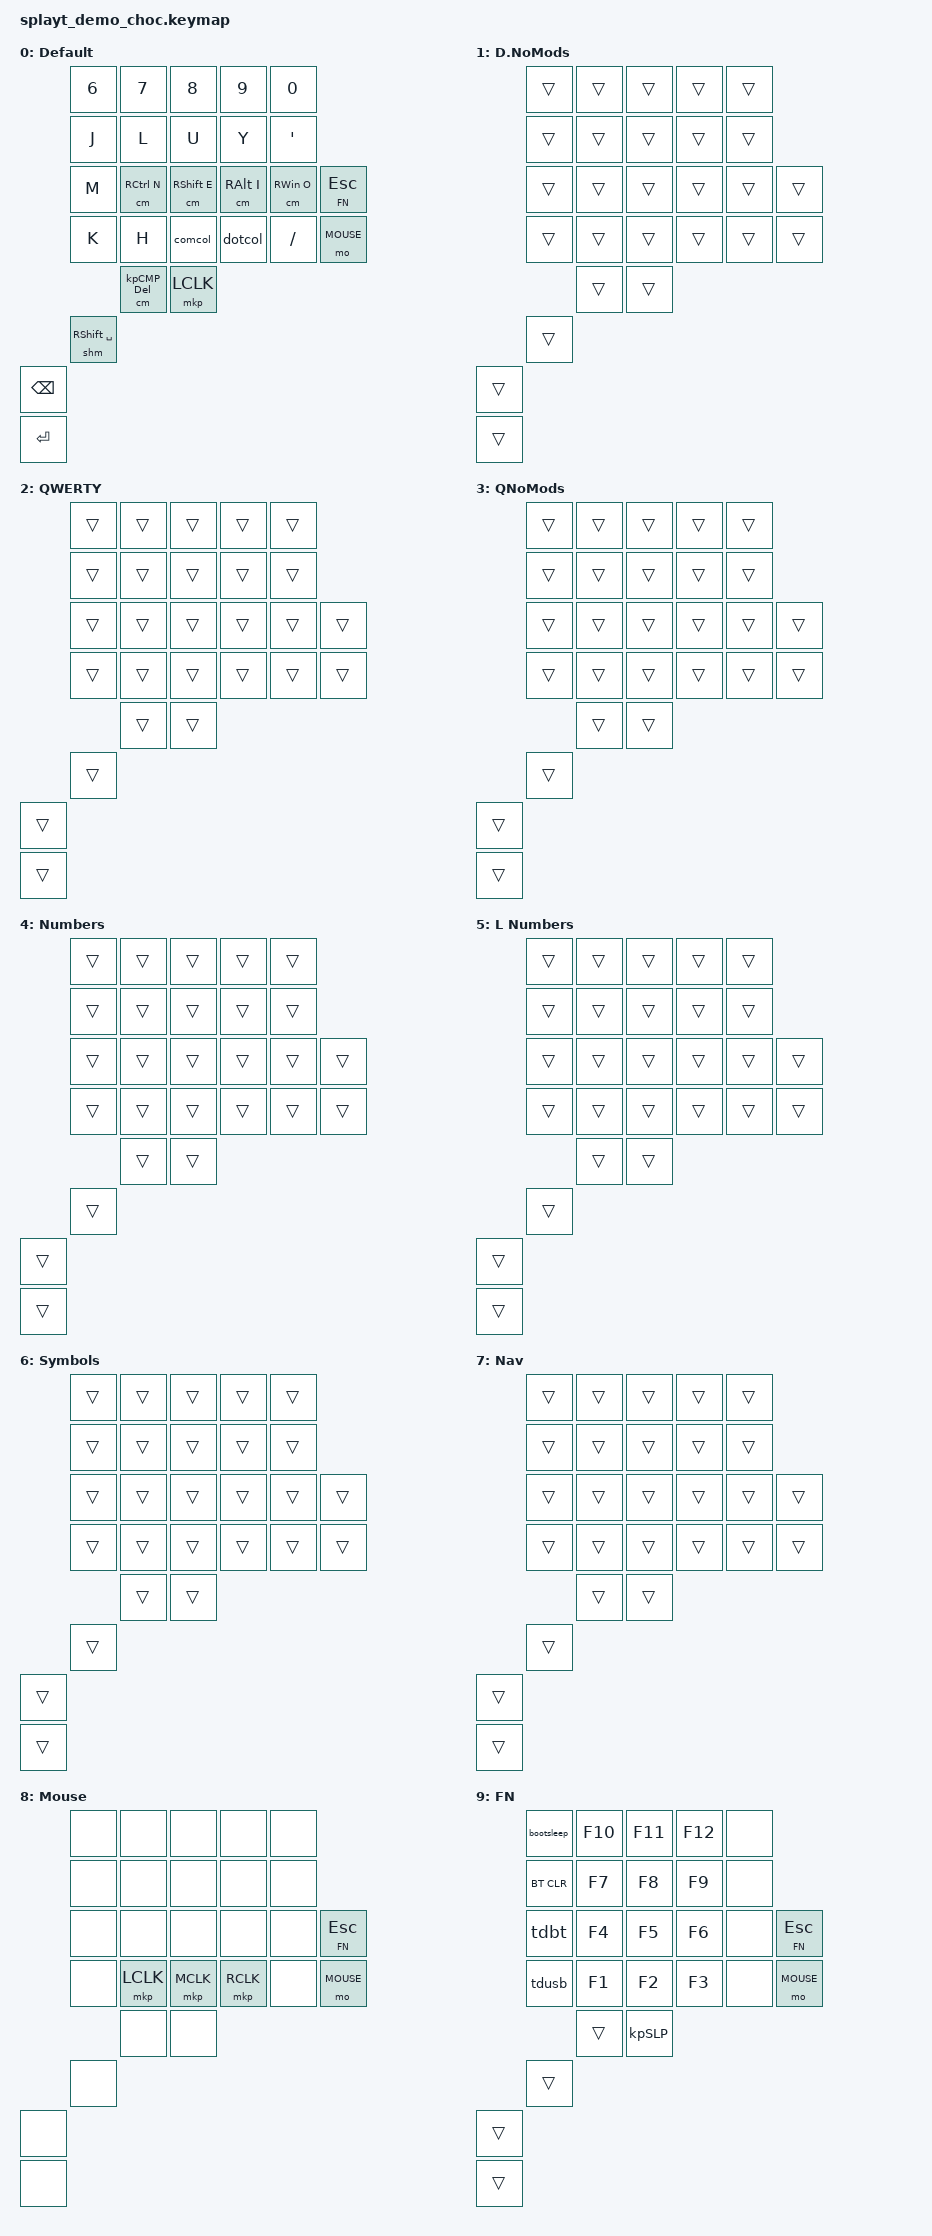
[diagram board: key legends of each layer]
/*
 * Copyright (c) 2021 Tom Butcher
 *
 * SPDX-License-Identifier: MIT
 */

 // standard build command: west build -b adafruit_feather_nrf52840 -- -DSHIELD=space_invader

 /* ********* TO DO *************
	* Once unicode works, create macros that change the layer and send the appropriate F key
	  (for helper image) at the same time.
 */

#include <behaviors.dtsi>
#include <dt-bindings/zmk/keys.h>
#include <dt-bindings/zmk/bt.h>
#include <dt-bindings/zmk/outputs.h>
#include <dt-bindings/zmk/ext_power.h>

// Layer Defs
#define DEF		0
#define DEF_NM	1
#define QWERTY	2
#define QWER_NM	3
#define NUM		4
#define LNUM	5
#define SYM		6
#define NAV		7
#define MOUSE	8
#define FN		9	
#define EMOJI	10	// Reserved for future use 
#define CMP		11	// Reserved for future use
#define STAY	12

// Mouse Key defs--For use until AHK can be ditched
#define WH_DN	(F16)
#define WH_UP	(F17)
// #define WH_L	(KP_N7)
// #define WH_R	(KP_N9)
// #define M_UP	(KP_N8)
// #define M_DN	(KP_N5)
// #define M_L		(KP_N4)
// #define M_R		(KP_N6)
// #define M_UP_SL	(LC(LG(LA(M_UP))))		// These move the mouse slowly
// #define M_DN_SL	(LC(LG(LA(M_DN))))
// #define M_R_SL	(LC(LG(LA(M_R))))
// #define M_L_SL	(LC(LG(LA(M_L))))
// #define M_MB	(KP_DIVIDE)
// #define M_LB	(KP_MINUS)
// #define M_RB	(KP_MULTIPLY)

// F Key subs (use with AHK)
#define KP_PLS	(F18)
#define KP_COM	(F19)
#define KP_SMC	(F20)
#define KP_EMJ	(F21)
#define KP_CMP	(F23)
#define KP_SLP	(LG(LA(LS(LC(APOS)))))

// Other defs
#define xxx		&none	
#define ___		&trans
#define HYPER	(LG(LA(LS(LCTRL))))		  // If I want to send a hypered key, then I might need to make a custom behavior
// #define HYPER	(LG(LA(LS(LCTRL))))   // Maybe try to make a custom mod kp?

#include <../boards/shields/splayt_demo_choc/key_positions.h>
#include <../boards/shields/splayt_demo_choc/mouse.dtsi>
#include <../boards/shields/splayt_demo_choc/helper.h>
#include <../boards/shields/splayt_demo_choc/behaviors.dtsi>
#include <../boards/shields/splayt_demo_choc/combos.dtsi>

&mt { quick_tap_ms = <200>; };
&lt { quick_tap_ms = <200>; };

/ {
	conditional_layers {
        compatible = "zmk,conditional-layers";
        tri_layer {
            if-layers = <1 2>;
            then-layer = <3>;
        };
    };

	keymap {
		compatible = "zmk,keymap";

							// -------------------------------------------------TEMPLATE-------------------------------------------------
							// |      |      |      |      |      |                                  |      |      |      |      |      |
							// |      |      |      |      |      |                                  |      |      |      |      |      |
							// |      |      |      |      |      |             |      |             |      |      |      |      |      |
							// |      |------|      |      |      |      |      	          |      |      |      |      |------|      |
							// |----------------------------------|      |      |      |      |      |----------------------------------|
							// ----------------------------------------------------------------------------------------------------------

//------------------------------------------------------------------------------EMPTY TEMPLATE-----------------------------------------------------------------------------
//╭─────────────┬─────────────┬─────────────┬─────────────┬─────────────╮	 		  			    ╭─────────────┬─────────────┬─────────────┬─────────────┬─────────────╮

//├─────────────┼─────────────┼─────────────┼─────────────┼─────────────┤	 					    ├─────────────┼─────────────┼─────────────┼─────────────┼─────────────┤

//├─────────────┼─────────────┼─────────────┼─────────────┼─────────────┤	   ╭─────────────╮      ├─────────────┼─────────────┼─────────────┼─────────────┼─────────────┤

//├─────────────┴───┬─────────┼─────────────┼─────────────┼─────────────┼──────╰──────╮──────╯──────┼─────────────┼─────────────┼─────────────┼─────────┬───┴─────────────┤

//╰─────────────────╯		  ╰─────────────┴─────────────┴─────────────┴─────────────╯─────────────┴─────────────┴─────────────┴─────────────╯	   		╰─────────────────╯
//																		  		 ╭─────────╮

//																	   ╭─────────┼─────────┼─────────╮

//																	   ╰─────────┼─────────┼─────────╯

//																				 ╰─────────╯



		default_layer { 
			label = "Default";
			bindings = <
		//----------------------------------------------COLEMAK----------------------------------------------
		//				╭─────────────┬─────────────┬─────────────┬─────────────┬─────────────╮
          				  &kp N6		&kp N7		  &kp N8		&kp N9		  &kp N0		
        //				├─────────────┼─────────────┼─────────────┼─────────────┼─────────────┤
          				  &kp J			&kp L		  &kp U			&kp Y		  &kp APOS	  
        //				├─────────────┼─────────────┼─────────────┼─────────────┼─────────────┤─────────────╮
          				  &kp M			&cm RCTRL N	  &cm RSHFT E	&cm RALT I	  &cm RWIN O    &lt FN ESC  
        //				├─────────────┼─────────────┼─────────────┼─────────────┼─────────────┤─────────────┤
          				  &kp K			&kp H		  &comcol		&dotcol		  &kp SLASH		&mo MOUSE
        //				╰─────────╭───┴─────────┬───┴─────────╮───┴─────────────┴─────────────┴─────────────╯
							    	&cm KP_CMP DEL &mkp LCLK	// &kp END 		// &lt SYM END
		//			╭─────────────┼─────────────┴─────────────╯	
  		  			  &shm RSHFT SPACE 
		//	  ╭─────╰───────╮─────╯											  
 			    &kp BSPC		// &lt NUM BSPC  
		//	  ├─────────────┤
				&kp RET
		//	  ╰─────────────╯												  
       		>;
		};

		default_no_mods_layer { // Dummy layer for now
			label = "D.NoMods";
			bindings = <___ ___	___ ___ ___ ___ ___ ___ ___ ___ ___ ___ ___ ___ ___ ___ ___ ___ ___ ___ ___ ___ ___ ___ ___ ___ ___>;
		};

		qwerty_layer { // Dummy layer for now
			label = "QWERTY";
			bindings = <___ ___	___ ___ ___ ___ ___ ___ ___ ___ ___ ___ ___ ___ ___ ___ ___ ___ ___ ___ ___ ___ ___ ___ ___ ___ ___>;
		};

		qwerty_no_mods_layer { // Dummy layer for now
			label = "QNoMods";
			bindings = <___ ___	___ ___ ___ ___ ___ ___ ___ ___ ___ ___ ___ ___ ___ ___ ___ ___ ___ ___ ___ ___ ___ ___ ___ ___ ___>;
		};

		number_layer { // Dummy layer for now
			label = "Numbers";
			bindings = <___ ___	___ ___ ___ ___ ___ ___ ___ ___ ___ ___ ___ ___ ___ ___ ___ ___ ___ ___ ___ ___ ___ ___ ___ ___ ___>;
		};

		left_number_layer { // Dummy layer for now
			label = "L Numbers";
			bindings = <___ ___	___ ___ ___ ___ ___ ___ ___ ___ ___ ___ ___ ___ ___ ___ ___ ___ ___ ___ ___ ___ ___ ___ ___ ___ ___>;
		};

		symbol_layer { // Dummy layer for now
			label = "Symbols";
			bindings = <___ ___	___ ___ ___ ___ ___ ___ ___ ___ ___ ___ ___ ___ ___ ___ ___ ___ ___ ___ ___ ___ ___ ___ ___ ___ ___>;
		};

		navigation_layer { // Dummy layer for now
			label = "Nav";
			bindings = <___ ___	___ ___ ___ ___ ___ ___ ___ ___ ___ ___ ___ ___ ___ ___ ___ ___ ___ ___ ___ ___ ___ ___ ___ ___ ___>;
		};

		mouse_layer { 
			label = "Mouse";
			bindings = <
		//----------------------------------------------COLEMAK----------------------------------------------
		//				╭─────────────┬─────────────┬─────────────┬─────────────┬─────────────╮
          				   xxx			xxx			  xxx			xxx			  xxx	
        //				├─────────────┼─────────────┼─────────────┼─────────────┼─────────────┤
          				   xxx			xxx			  xxx			xxx			  xxx 
        //				├─────────────┼─────────────┼─────────────┼─────────────┼─────────────┤─────────────╮
          				   xxx			xxx			  xxx			xxx			  xxx	   		&lt FN ESC  
        //				├─────────────┼─────────────┼─────────────┼─────────────┼─────────────┤─────────────┤
          				   xxx			&mkp LCLK	  &mkp MCLK		&mkp RCLK	  xxx			&mo MOUSE
        //				╰─────────╭───┴─────────┬───┴─────────╮───┴─────────────┴─────────────┴─────────────╯
							    	xxx			  xxx
		//			╭─────────────┼─────────────┴─────────────╯	
  		  			  xxx
		//	  ╭─────╰───────╮─────╯											  
 			    xxx
		//	  ├─────────────┤
				xxx 
		//	  ╰─────────────╯												  
       		>;
		};

		function_layer { 
			label = "FN";
			bindings = <
		//----------------------------------------------COLEMAK----------------------------------------------
		//				╭─────────────┬─────────────┬─────────────┬─────────────┬─────────────╮
          				   &bootsleep	&kp F10		  &kp F11		&kp F12		  xxx	
        //				├─────────────┼─────────────┼─────────────┼─────────────┼─────────────┤
          				   &bt BT_CLR	&kp F7		  &kp F8		&kp F9		  xxx 
        //				├─────────────┼─────────────┼─────────────┼─────────────┼─────────────┤─────────────╮
          				   &tdbt		&kp F4		  &kp F5		&kp F6		  xxx	   		&lt FN ESC  
        //				├─────────────┼─────────────┼─────────────┼─────────────┼─────────────┤─────────────┤
          				   &tdusb		&kp F1		  &kp F2		&kp F3		  xxx			&mo MOUSE
        //				╰─────────╭───┴─────────┬───┴─────────╮───┴─────────────┴─────────────┴─────────────╯
							    	___			  &kp KP_SLP
		//			╭─────────────┼─────────────┴─────────────╯	
  		  			  ___ 
		//	  ╭─────╰───────╮─────╯											  
 			    ___  
		//	  ├─────────────┤
				___ 
		//	  ╰─────────────╯												  
       		>;
		};

	};
};
